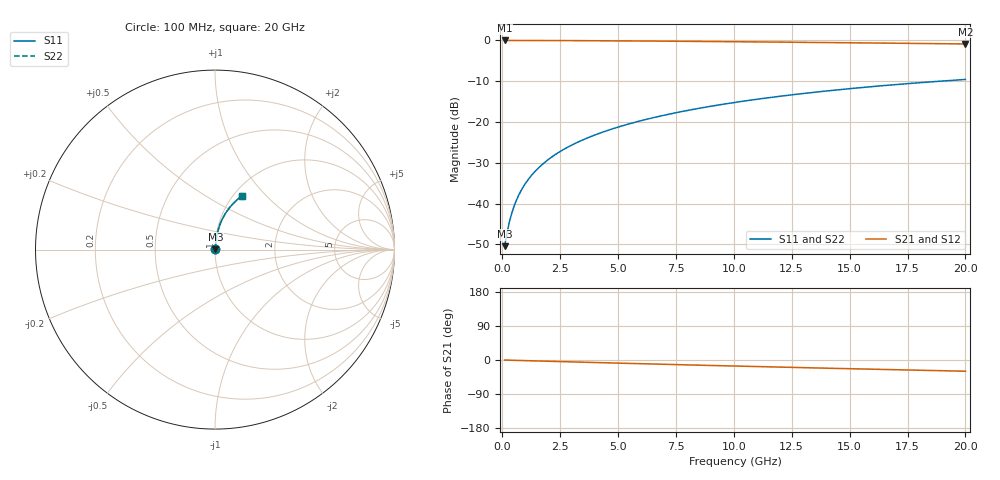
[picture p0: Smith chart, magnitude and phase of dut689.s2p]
! Touchstone file exported from HFSS 2024.1.0
!  File:  C:/UserFiles/LocalFiles/RDL_TSV_Batchsim/temp_RDL_top_689_1779782769.aedt
!  Generated:  04:08:07 PM May 26, 2026
!  Design:  RDL_top
!  Project:  temp_RDL_top_689_1779782769
!  Setup:  Setup1
!  Solution:  Sweep
! Variables:
!  dtsv = 10.80580581um
!  hbump = 3um
!  htsv = 98.1um
!  ldown = 100um
!  lrdl = 383.85um
!  p = 40
!  p1 = 45um
!  rhole = 1um
!  t = 450um
!  tdown = 3.915915916um
!  trdl = 4.24um
!  wdown = 15.38538539um
!  wrdl = 14.07um
# GHz S MA R 50.000000
! Terminal data exported
! Port[1] = Box2_T1
! Port[2] = Box2_T2
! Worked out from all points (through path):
!   200 points, 100 MHz to 20 GHz, reference 50 ohm
!   highest |S21| = -0.02 dB at 100 MHz (marker M1); lowest = -0.9 dB at 20 GHz (marker M2)
!   group delay of S21, straight-line fit = 4.1 ps
!   lowest |S11| = -50.4 dB at 100 MHz (marker M3), VSWR 1.01, Z = 50.2 + j0.183 ohm
!   |S11| at or under -10 dB: start of sweep to 18.92 GHz
!   |S22| runs from -50.4 to -9.6 dB; largest |S21 - S12| = 2.6e-15
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0.1  0.003003 37.3  0.9976 -0.2  0.9976 -0.2  0.003003 37.3
! Gamma 0 0 0 0
! Port Impedance 50 0 50 0
0.2  0.00433 55.4  0.9975 -0.3  0.9975 -0.3  0.00433 55.4
0.3  0.005856 64.6  0.9975 -0.5  0.9975 -0.5  0.005856 64.6
0.4  0.007469 70.0  0.9974 -0.7  0.9974 -0.7  0.00747 70.0
0.5  0.009127 73.4  0.9973 -0.9  0.9973 -0.9  0.009127 73.4
0.6  0.01081 75.8  0.9972 -1.0  0.9972 -1.0  0.01081 75.8
0.8  0.01422 78.7  0.997 -1.4  0.997 -1.4  0.01422 78.7
1.1  0.01936 81.0  0.9967 -1.9  0.9967 -1.9  0.01936 81.0
1.5  0.02625 82.4  0.9961 -2.5  0.9961 -2.5  0.02625 82.4
1.8  0.03141 82.9  0.9957 -3.0  0.9957 -3.0  0.03141 82.9
2.1  0.03657 83.2  0.9951 -3.5  0.9951 -3.5  0.03657 83.2
2.7  0.04689 83.4  0.9938 -4.5  0.9938 -4.5  0.04689 83.4
3.5  0.06066 83.2  0.9917 -5.8  0.9917 -5.8  0.06065 83.2
4.2  0.07272 82.8  0.9895 -7.0  0.9895 -7.0  0.07271 82.8
5  0.08653 82.1  0.9866 -8.3  0.9866 -8.3  0.08652 82.1
5.9  0.1021 81.3  0.983 -9.7  0.983 -9.7  0.1021 81.3
6.8  0.1177 80.4  0.9791 -11.1  0.9791 -11.1  0.1176 80.4
8.3  0.1436 78.7  0.972 -13.4  0.972 -13.4  0.1436 78.7
10.1  0.1745 76.5  0.9627 -16.1  0.9627 -16.1  0.1745 76.5
13.4  0.2299 72.3  0.9443 -20.8  0.9443 -20.8  0.2298 72.3
16.7  0.2826 67.9  0.9245 -25.3  0.9245 -25.3  0.2826 67.9
20  0.3319 63.6  0.9037 -29.7  0.9037 -29.7  0.3318 63.6
